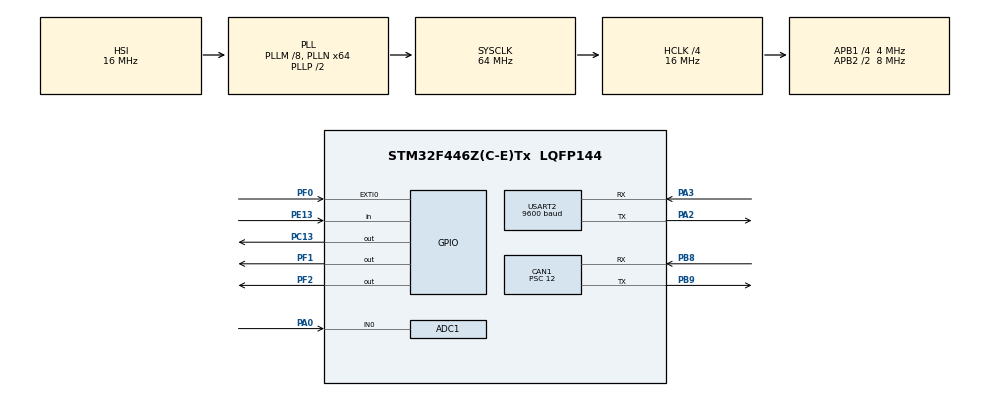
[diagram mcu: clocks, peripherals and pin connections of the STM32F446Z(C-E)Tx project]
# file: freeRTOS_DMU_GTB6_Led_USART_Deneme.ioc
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ADC1.Channel-0\#ChannelRegularConversion=ADC_CHANNEL_0
ADC1.NbrOfConversionFlag=1
ADC1.Rank-0\#ChannelRegularConversion=1
ADC1.SamplingTime-0\#ChannelRegularConversion=ADC_SAMPLETIME_3CYCLES
ADC1.master=1
CAN1.BS1=CAN_BS1_11TQ
CAN1.BS2=CAN_BS2_2TQ
CAN1.CalculateBaudRate=23809
CAN1.CalculateTimeBit=42000
CAN1.CalculateTimeQuantum=3000.0
CAN1.Prescaler=12
FREERTOS.Tasks01=myTask01,-1,128,StartDefaultTask,Default,NULL,Dynamic,NULL,NULL;myTask02,-1,128,StartTask02,Default,NULL,Dynamic,NULL,NULL
FREERTOS.configUSE_NEWLIB_REENTRANT=1
Mcu.Family=STM32F4
Mcu.Name=STM32F446Z(C-E)Tx
Mcu.Package=LQFP144
NVIC.CAN1_RX0_IRQn=true\:5\:0\:false\:false\:true\:true\:true\:true\:true
NVIC.PriorityGroup=NVIC_PRIORITYGROUP_4
PA0-WKUP.Signal=ADCx_IN0
PA13.Mode=Serial_Wire
PA13.Signal=SYS_JTMS-SWDIO
PA14.Mode=Serial_Wire
PA14.Signal=SYS_JTCK-SWCLK
PA2.Mode=Asynchronous
PA2.Signal=USART2_TX
PA3.Mode=Asynchronous
PA3.Signal=USART2_RX
PB8.Mode=CAN_Activate
PB8.Signal=CAN1_RX
PB9.Mode=CAN_Activate
PB9.Signal=CAN1_TX
PC13.Signal=GPIO_Output
PE13.Signal=GPIO_Input
PF0.Signal=GPXTI0
PF1.Signal=GPIO_Output
PF2.Signal=GPIO_Output
PH0-OSC_IN.Mode=HSE-External-Oscillator
PH0-OSC_IN.Signal=RCC_OSC_IN
PH1-OSC_OUT.Mode=HSE-External-Oscillator
PH1-OSC_OUT.Signal=RCC_OSC_OUT
ProjectManager.HeapSize=0x200
ProjectManager.StackSize=0x400
ProjectManager.TargetToolchain=STM32CubeIDE
RCC.AHBCLKDivider=RCC_SYSCLK_DIV4
RCC.AHBFreq_Value=16000000
RCC.APB1CLKDivider=RCC_HCLK_DIV4
RCC.APB1Freq_Value=4000000
RCC.APB1TimFreq_Value=8000000
RCC.APB2CLKDivider=RCC_HCLK_DIV2
RCC.APB2Freq_Value=8000000
RCC.APB2TimFreq_Value=16000000
RCC.CortexFreq_Value=16000000
RCC.HCLKFreq_Value=16000000
RCC.HSE_VALUE=8000000
RCC.PLLM=8
RCC.PLLN=64
RCC.SYSCLKFreq_VALUE=64000000
RCC.SYSCLKSource=RCC_SYSCLKSOURCE_PLLCLK
RCC.USBFreq_Value=64000000
RCC.VCOOutputFreq_Value=128000000
SH.ADCx_IN0.0=ADC1_IN0,IN0
USART2.BaudRate=9600
USART2.VirtualMode=VM_ASYNC
VP_FREERTOS_VS_CMSIS_V1.Mode=CMSIS_V1
board=custom

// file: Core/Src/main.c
/* USER CODE BEGIN Header */
/**
  ******************************************************************************
  * @file           : main.c
  * @brief          : Main program body
  ******************************************************************************
  * @attention
  *
  * Copyright (c) 2024 STMicroelectronics.
  * All rights reserved.
  *
  * This software is licensed under terms that can be found in the LICENSE file
  * in the root directory of this software component.
  * If no LICENSE file comes with this software, it is provided AS-IS.
  *
  ******************************************************************************
  */
/* USER CODE END Header */
#include "main.h"
#include "cmsis_os.h"

/* USER CODE BEGIN Includes */
#include "task.h" // task dosyaları için
#include "string.h"
/* USER CODE END Includes */

ADC_HandleTypeDef hadc1;

CAN_HandleTypeDef hcan1;

UART_HandleTypeDef huart2;

osThreadId myTask01Handle;
osThreadId myTask02Handle;
/* USER CODE BEGIN PV */
//TaskHandle_t myTask01Handle;
//TaskHandle_t myTask02Handle;

/* USER CODE END PV */

void SystemClock_Config(void);
static void MX_GPIO_Init(void);
static void MX_ADC1_Init(void);
static void MX_CAN1_Init(void);
static void MX_USART2_UART_Init(void);
void StartDefaultTask(void const * argument);
void StartTask02(void const * argument);

/* USER CODE BEGIN 0 */

uint32_t dmu_value;
uint32_t digital_output;
/* USER CODE END 0 */

int main(void)
{

  /* MCU Configuration--------------------------------------------------------*/

  /* Reset of all peripherals, Initializes the Flash interface and the Systick. */
  HAL_Init();

  /* Configure the system clock */
  SystemClock_Config();

  /* USER CODE BEGIN SysInit */
  SystemCoreClockUpdate();
  /* USER CODE END SysInit */

  /* Initialize all configured peripherals */
  MX_GPIO_Init();
  MX_ADC1_Init();
  MX_CAN1_Init();
  MX_USART2_UART_Init();

  /* Create the thread(s) */
  /* definition and creation of myTask01 */
  osThreadDef(myTask01, StartDefaultTask, osPriorityBelowNormal, 0, 128);
  myTask01Handle = osThreadCreate(osThread(myTask01), NULL);

  /* definition and creation of myTask02 */
  osThreadDef(myTask02, StartTask02, osPriorityBelowNormal, 0, 128);
  myTask02Handle = osThreadCreate(osThread(myTask02), NULL);

  /* USER CODE BEGIN RTOS_THREADS */
  /* add threads, ... */

  xTaskCreate(StartDefaultTask," DMU OKUMA ",configMINIMAL_STACK_SIZE, NULL, 2, &myTask01Handle);
  xTaskCreate(StartTask02," Led yakma ", configMINIMAL_STACK_SIZE, NULL, 2, &myTask02Handle);

  /* USER CODE END RTOS_THREADS */

  /* Start scheduler */
  osKernelStart();

  /* We should never get here as control is now taken by the scheduler */

  /* Infinite loop */
  while (1)
  {

  }
}

void SystemClock_Config(void)
{
  RCC_OscInitTypeDef RCC_OscInitStruct = {0};
  RCC_ClkInitTypeDef RCC_ClkInitStruct = {0};

  /** Configure the main internal regulator output voltage
  */
  __HAL_RCC_PWR_CLK_ENABLE();
  __HAL_PWR_VOLTAGESCALING_CONFIG(PWR_REGULATOR_VOLTAGE_SCALE3);

  /** Initializes the RCC Oscillators according to the specified parameters
  * in the RCC_OscInitTypeDef structure.
  */
  RCC_OscInitStruct.OscillatorType = RCC_OSCILLATORTYPE_HSI;
  RCC_OscInitStruct.HSIState = RCC_HSI_ON;
  RCC_OscInitStruct.HSICalibrationValue = RCC_HSICALIBRATION_DEFAULT;
  RCC_OscInitStruct.PLL.PLLState = RCC_PLL_ON;
  RCC_OscInitStruct.PLL.PLLSource = RCC_PLLSOURCE_HSI;
  RCC_OscInitStruct.PLL.PLLM = 8;
  RCC_OscInitStruct.PLL.PLLN = 64;
  RCC_OscInitStruct.PLL.PLLP = RCC_PLLP_DIV2;
  RCC_OscInitStruct.PLL.PLLQ = 2;
  RCC_OscInitStruct.PLL.PLLR = 2;
  if (HAL_RCC_OscConfig(&RCC_OscInitStruct) != HAL_OK)
  {
    Error_Handler();
  }

  /** Initializes the CPU, AHB and APB buses clocks
  */
  RCC_ClkInitStruct.ClockType = RCC_CLOCKTYPE_HCLK|RCC_CLOCKTYPE_SYSCLK
                              |RCC_CLOCKTYPE_PCLK1|RCC_CLOCKTYPE_PCLK2;
  RCC_ClkInitStruct.SYSCLKSource = RCC_SYSCLKSOURCE_PLLCLK;
  RCC_ClkInitStruct.AHBCLKDivider = RCC_SYSCLK_DIV4;
  RCC_ClkInitStruct.APB1CLKDivider = RCC_HCLK_DIV4;
  RCC_ClkInitStruct.APB2CLKDivider = RCC_HCLK_DIV2;

  if (HAL_RCC_ClockConfig(&RCC_ClkInitStruct, FLASH_LATENCY_0) != HAL_OK)
  {
    Error_Handler();
  }
}

static void MX_ADC1_Init(void)
{

  ADC_ChannelConfTypeDef sConfig = {0};

  /** Configure the global features of the ADC (Clock, Resolution, Data Alignment and number of conversion)
  */
  hadc1.Instance = ADC1;
  hadc1.Init.ClockPrescaler = ADC_CLOCK_SYNC_PCLK_DIV2;
  hadc1.Init.Resolution = ADC_RESOLUTION_12B;
  hadc1.Init.ScanConvMode = DISABLE;
  hadc1.Init.ContinuousConvMode = DISABLE;
  hadc1.Init.DiscontinuousConvMode = DISABLE;
  hadc1.Init.ExternalTrigConvEdge = ADC_EXTERNALTRIGCONVEDGE_NONE;
  hadc1.Init.ExternalTrigConv = ADC_SOFTWARE_START;
  hadc1.Init.DataAlign = ADC_DATAALIGN_RIGHT;
  hadc1.Init.NbrOfConversion = 1;
  hadc1.Init.DMAContinuousRequests = DISABLE;
  hadc1.Init.EOCSelection = ADC_EOC_SINGLE_CONV;
  if (HAL_ADC_Init(&hadc1) != HAL_OK)
  {
    Error_Handler();
  }

  /** Configure for the selected ADC regular channel its corresponding rank in the sequencer and its sample time.
  */
  sConfig.Channel = ADC_CHANNEL_0;
  sConfig.Rank = 1;
  sConfig.SamplingTime = ADC_SAMPLETIME_3CYCLES;
  if (HAL_ADC_ConfigChannel(&hadc1, &sConfig) != HAL_OK)
  {
    Error_Handler();
  }

}

static void MX_CAN1_Init(void)
{

  hcan1.Instance = CAN1;
  hcan1.Init.Prescaler = 12;
  hcan1.Init.Mode = CAN_MODE_NORMAL;
  hcan1.Init.SyncJumpWidth = CAN_SJW_1TQ;
  hcan1.Init.TimeSeg1 = CAN_BS1_11TQ;
  hcan1.Init.TimeSeg2 = CAN_BS2_2TQ;
  hcan1.Init.TimeTriggeredMode = DISABLE;
  hcan1.Init.AutoBusOff = DISABLE;
  hcan1.Init.AutoWakeUp = DISABLE;
  hcan1.Init.AutoRetransmission = DISABLE;
  hcan1.Init.ReceiveFifoLocked = DISABLE;
  hcan1.Init.TransmitFifoPriority = DISABLE;
  if (HAL_CAN_Init(&hcan1) != HAL_OK)
  {
    Error_Handler();
  }

}

static void MX_USART2_UART_Init(void)
{

  huart2.Instance = USART2;
  huart2.Init.BaudRate = 9600;
  huart2.Init.WordLength = UART_WORDLENGTH_8B;
  huart2.Init.StopBits = UART_STOPBITS_1;
  huart2.Init.Parity = UART_PARITY_NONE;
  huart2.Init.Mode = UART_MODE_TX_RX;
  huart2.Init.HwFlowCtl = UART_HWCONTROL_NONE;
  huart2.Init.OverSampling = UART_OVERSAMPLING_16;
  if (HAL_UART_Init(&huart2) != HAL_OK)
  {
    Error_Handler();
  }

}

static void MX_GPIO_Init(void)
{
  GPIO_InitTypeDef GPIO_InitStruct = {0};

  /* GPIO Ports Clock Enable */
  __HAL_RCC_GPIOC_CLK_ENABLE();
  __HAL_RCC_GPIOF_CLK_ENABLE();
  __HAL_RCC_GPIOH_CLK_ENABLE();
  __HAL_RCC_GPIOA_CLK_ENABLE();
  __HAL_RCC_GPIOE_CLK_ENABLE();
  __HAL_RCC_GPIOB_CLK_ENABLE();

  /*Configure GPIO pin Output Level */
  HAL_GPIO_WritePin(GPIOC, GPIO_PIN_13, GPIO_PIN_RESET);

  /*Configure GPIO pin Output Level */
  HAL_GPIO_WritePin(GPIOF, GPIO_PIN_1|GPIO_PIN_2, GPIO_PIN_RESET);

  /*Configure GPIO pin : PC13 */
  GPIO_InitStruct.Pin = GPIO_PIN_13;
  GPIO_InitStruct.Mode = GPIO_MODE_OUTPUT_PP;
  GPIO_InitStruct.Pull = GPIO_NOPULL;
  GPIO_InitStruct.Speed = GPIO_SPEED_FREQ_LOW;
  HAL_GPIO_Init(GPIOC, &GPIO_InitStruct);

  /*Configure GPIO pin : PF0 */
  GPIO_InitStruct.Pin = GPIO_PIN_0;
  GPIO_InitStruct.Mode = GPIO_MODE_IT_RISING;
  GPIO_InitStruct.Pull = GPIO_NOPULL;
  HAL_GPIO_Init(GPIOF, &GPIO_InitStruct);

  /*Configure GPIO pins : PF1 PF2 */
  GPIO_InitStruct.Pin = GPIO_PIN_1|GPIO_PIN_2;
  GPIO_InitStruct.Mode = GPIO_MODE_OUTPUT_PP;
  GPIO_InitStruct.Pull = GPIO_NOPULL;
  GPIO_InitStruct.Speed = GPIO_SPEED_FREQ_LOW;
  HAL_GPIO_Init(GPIOF, &GPIO_InitStruct);

  /*Configure GPIO pin : PE13 */
  GPIO_InitStruct.Pin = GPIO_PIN_13;
  GPIO_InitStruct.Mode = GPIO_MODE_INPUT;
  GPIO_InitStruct.Pull = GPIO_NOPULL;
  HAL_GPIO_Init(GPIOE, &GPIO_InitStruct);

}

void StartDefaultTask(void const * argument)
{
  /* USER CODE BEGIN 5 */
  /* Infinite loop */
  for(;;)
  {
	  HAL_ADC_Start(&hadc1);

	  digital_output = HAL_GPIO_ReadPin(GPIOE, GPIO_PIN_13);
	  if(digital_output == 0)
	  {
		  if (HAL_ADC_PollForConversion(&hadc1, 1000) == HAL_OK)
		  {
			  dmu_value = HAL_ADC_GetValue(&hadc1);
			  osSignalSet(myTask02Handle, dmu_value);// bildirim göndermek için
		  }

		  if (HAL_ADC_PollForConversion(&hadc1, 1000) == HAL_OK)
		  {
			  dmu_value = HAL_ADC_GetValue(&hadc1);
			  xTaskNotify(myTask02Handle, 0x00, eIncrement); // bildirim göndermek için
		  }

	  };

    osDelay(1);
  }
  /* USER CODE END 5 */
}

void StartTask02(void const * argument)
{
  /* USER CODE BEGIN StartTask02 */
	uint32_t pulNotificationValue = 0;
  /* Infinite loop */
  for(;;)
  {
	  if(osSignalWait(&pulNotificationValue, 100).status == osEventSignal) // bidirim almak için
	  {
		  HAL_GPIO_WritePin(GPIOF, GPIO_PIN_0|GPIO_PIN_1|GPIO_PIN_2, GPIO_PIN_SET);
		  HAL_GPIO_WritePin(GPIOC, GPIO_PIN_13, GPIO_PIN_SET);
		  vTaskDelay(100);
		  HAL_GPIO_WritePin(GPIOF, GPIO_PIN_0|GPIO_PIN_1|GPIO_PIN_2, GPIO_PIN_RESET);
		  HAL_GPIO_WritePin(GPIOC, GPIO_PIN_13, GPIO_PIN_RESET);
		  vTaskDelay(100);

//		  char *task1 = "task 1 tamamlandır\n";
//		  HAL_UART_Transmit(&huart2, (uint8_t*)task1, strlen(task1), 100);
//		  vTaskDelay(100);
	  }

	  if(xTaskNotifyWait(0, 0, &pulNotificationValue, portMAX_DELAY) == pdTRUE) // bidirim almak için
		  // bu Basetype değeri türünden yani pdTrue ya da pdFalse , pdTrue ise bildirim geldi demektir.
		  // bi bildirim geidiğinde önceki bildirim değerini siler, çıkışta bildirim değerini siler, Notifiy değeri yani bildirim geldiğinde bu değeri alsın, bekleme değeri
	  {
		  HAL_GPIO_WritePin(GPIOF, GPIO_PIN_0|GPIO_PIN_1|GPIO_PIN_2, GPIO_PIN_SET);
		  HAL_GPIO_WritePin(GPIOC, GPIO_PIN_13, GPIO_PIN_SET);
		  vTaskDelay(100);
		  HAL_GPIO_WritePin(GPIOF, GPIO_PIN_0|GPIO_PIN_1|GPIO_PIN_2, GPIO_PIN_RESET);
		  HAL_GPIO_WritePin(GPIOC, GPIO_PIN_13, GPIO_PIN_RESET);
		  vTaskDelay(100);
	  }

  }
  /* USER CODE END StartTask02 */
}

void Error_Handler(void)
{
  __disable_irq();
  while (1)
  {
  }
}
